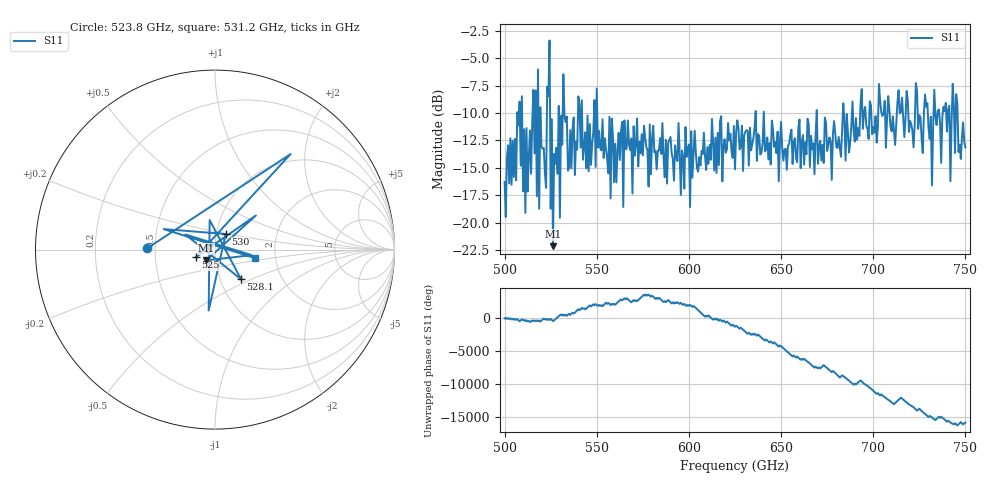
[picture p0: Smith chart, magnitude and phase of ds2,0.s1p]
!Created with skrf (http://scikit-rf.org).
# GHz S RI R 50.0
!freq ReS11 ImS11
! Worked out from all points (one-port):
!   401 points, 500 GHz to 750 GHz, reference 50 ohm
!   lowest |S11| = -22.2 dB at 526.2 GHz (marker M1), VSWR 1.17, Z = 45 - j5.47 ohm
!   |S11| at or under -10 dB: 550.3 GHz to 636.2 GHz (85.91 GHz wide, 14.5 % of centre); 640.6 GHz to 669.3 GHz (28.65 GHz wide, 4.37 % of centre); 669.4 GHz to 683.5 GHz (14.12 GHz wide, 2.09 % of centre) (the widest 3 of 37)
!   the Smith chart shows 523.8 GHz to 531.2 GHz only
!   S11 on the Smith chart (normalised r, x): 523.8 GHz: 0.45, +0.01; 525 GHz: 0.80, -0.07; 528.1 GHz: 1.26, -0.44; 530 GHz: 1.11, +0.19; 531.2 GHz: 1.56, -0.15
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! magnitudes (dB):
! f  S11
! 500 GHz  -16.3
! 508.1 GHz  -8.9
! 511.2 GHz  -19.1
! 516.9 GHz  -7.9
! 521.2 GHz  -13.2
! 523.8 GHz  -8.5
! 524.4 GHz  -3.4
! 525 GHz  -18.7
! 526.2 GHz  -22.2
! 528.1 GHz  -13.2
! 530 GHz  -19.6
! 531.2 GHz  -12.9
! 535.6 GHz  -11.6
! 550 GHz  -7.7
! 556.2 GHz  -15.5
! 562.5 GHz  -14.3
! 593.8 GHz  -14.4
! 596.2 GHz  -13.4
! 625 GHz  -15.1
! 656.2 GHz  -14.6
! 687.5 GHz  -12.7
! 718.8 GHz  -8.8
! 728.8 GHz  -9.4
! 731.2 GHz  -10.3
! 734.4 GHz  -11.1
! 741.2 GHz  -9.3
! 744.4 GHz  -13.7
! 750 GHz  -13.1
